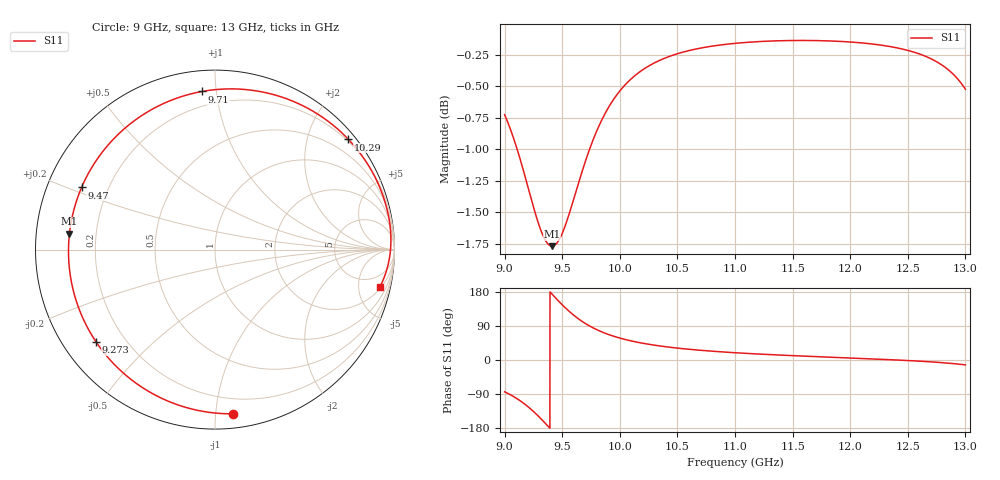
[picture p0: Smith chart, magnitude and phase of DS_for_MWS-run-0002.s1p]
! TOUCHSTONE file generated by CST DESIGN STUDIO
! Date and time: Tue Feb  4 18:24:16 2025
! Project name: C:\Work\MatlabApps\UnitCellOptimizationMatlab\CST\unitcell.cst
! Tree item: Tasks\Sweep1\SPara1\S-Parameters
! Header version: 2024
! Port assignment regex: !\s*Touchstone port\s*([0-9]+)\s*=\s*(CST MWS port|CST DES external port|CST DES block port)\s*(.+)\s* \(\"(.*)\"\)(\s*mode\s*([0-9]+))?.*
! Touchstone port assignment:
! Touchstone port 1 = CST DES external port 1 ("")
# GHz S MA R 50
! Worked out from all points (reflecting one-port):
!   4001 points, 9 GHz to 13 GHz, reference 50 ohm
!   lowest |S11| = -1.8 dB at 9.412 GHz (marker M1), VSWR 9.86, Z = 5.09 + j2.7 ohm
!   phase of S11 starts at -84 deg and turns -289 deg over the sweep
!   S11 on the Smith chart (normalised r, x): 9 GHz: 0.09, -1.11; 9.273 GHz: 0.10, -0.34; 9.47 GHz: 0.10, +0.22; 9.71 GHz: 0.11, +0.92; 10.29 GHz: 0.16, +2.77; 13 GHz: 2.22, -8.26
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9  0.92 -83.9
9.08  0.8998 -96.8
9.148  0.8792 -110.4
9.211  0.8584 -125.3
9.273  0.8387 -142.2
9.346  0.8214 -164.7
9.379  0.8172 -175.4
9.412  0.8158 173.8
9.47  0.8201 155.0
9.5  0.8253 145.8
9.551  0.8376 131.0
9.601  0.852 118.0
9.653  0.8676 106.0
9.71  0.884 94.7
9.773  0.9003 84.1
9.849  0.9167 73.5
9.922  0.9294 65.2
10  0.9402 57.9
10.134  0.9537 48.1
10.291  0.9642 39.6
10.5  0.9728 31.4
10.723  0.9782 25.0
11  0.9821 19.2
11.5  0.9846 11.5
12  0.9833 5.3
12.5  0.9758 -1.4
12.772  0.9644 -6.4
13  0.9418 -12.9
